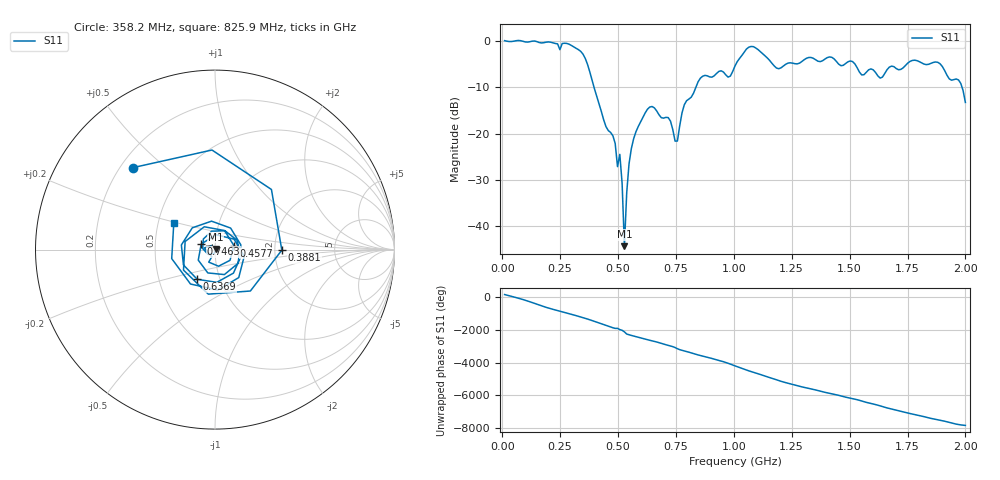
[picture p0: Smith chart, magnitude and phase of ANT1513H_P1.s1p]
!Created with skrf (http://scikit-rf.org).
# Hz S RI R 50.0
!freq ReS11 ImS11
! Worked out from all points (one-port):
!   201 points, 10 MHz to 2 GHz, reference 50 ohm
!   lowest |S11| = -44.3 dB at 527.4 MHz (marker M1), VSWR 1.01, Z = 50.5 + j0.326 ohm
!   |S11| at or under -10 dB: 396 MHz to 836.1 MHz (440.1 MHz wide, 71.4 % of centre); 1.985 GHz to end of sweep
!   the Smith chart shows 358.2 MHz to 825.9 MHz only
!   S11 on the Smith chart (normalised r, x): 358.2 MHz: 0.25, +0.39; 388.1 MHz: 2.19, -0.02; 457.8 MHz: 1.23, +0.06; 636.9 MHz: 0.78, -0.27; 746.3 MHz: 0.86, +0.05; 825.9 MHz: 0.60, +0.19
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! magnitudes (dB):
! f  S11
! 10 MHz  0.0
! 258.8 MHz  -0.6
! 358.2 MHz  -3.8
! 388.1 MHz  -8.6
! 457.8 MHz  -19.4
! 487.6 MHz  -22.1
! 497.6 MHz  -27.1
! 507.5 MHz  -24.5
! 517.5 MHz  -30.7
! 527.4 MHz  -44.3
! 537.4 MHz  -32.8
! 557.2 MHz  -23.3
! 636.9 MHz  -14.3
! 716.5 MHz  -16.6
! 746.3 MHz  -21.6
! 756.2 MHz  -21.6
! 786.1 MHz  -13.8
! 825.9 MHz  -11.3
! 1.005 GHz  -5.4
! 1.075 GHz  -1.2
! 1.184 GHz  -5.9
! 1.254 GHz  -4.8
! 1.502 GHz  -4.4
! 1.632 GHz  -8.0
! 1.751 GHz  -4.8
! 1.891 GHz  -5.0
! 1.98 GHz  -9.2
! 2 GHz  -13.3
